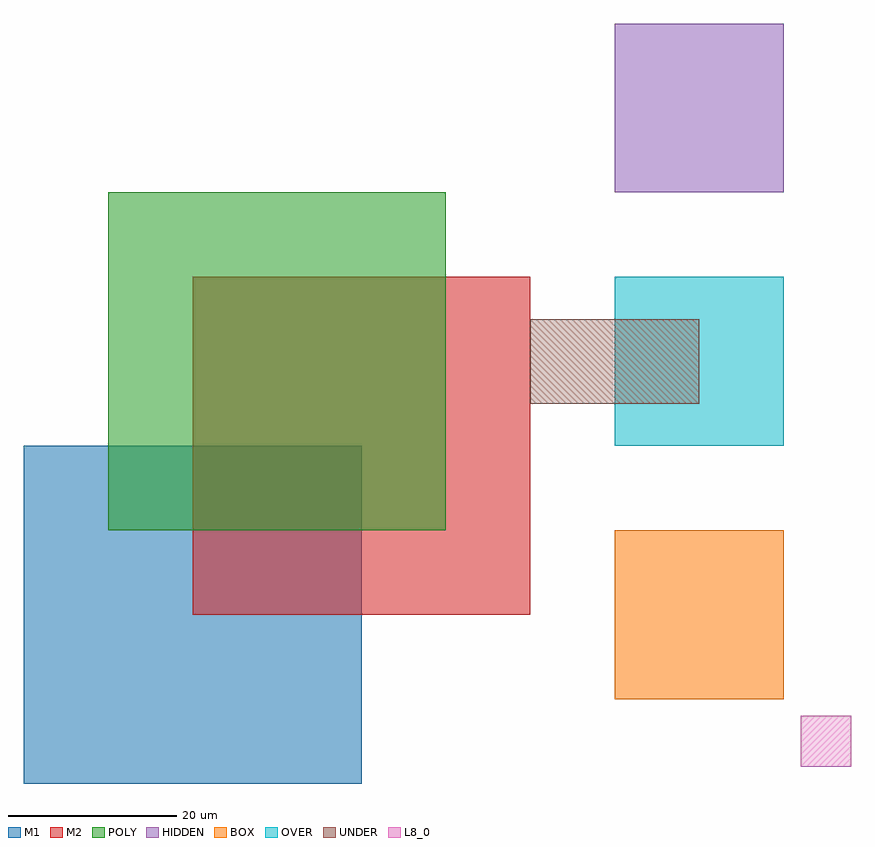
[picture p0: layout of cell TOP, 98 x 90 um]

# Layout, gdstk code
import gdstk
lib = gdstk.Library(unit=1e-6, precision=1e-09)
def R(c, l, rs):  # rectangles x0, y0, x1, y1
    for r in rs: c.add(gdstk.rectangle(r[:2], r[2:], *l))
M1 = (1, 0)
M2 = (2, 0)
POLY = (3, 0)
HIDDEN = (4, 0)
BOX = (5, 0)
OVER = (6, 0)
UNDER = (7, 0)
L8_0 = (8, 0)

top = lib.new_cell('TOP')
R(top, M1, [(0,0,40,40)])
R(top, M2, [(20,20,60,60)])
R(top, POLY, [(10,30,50,70)])
R(top, HIDDEN, [(70,70,90,90)])
R(top, BOX, [(70,10,90,30)])
R(top, OVER, [(70,40,90,60)])
R(top, UNDER, [(60,45,80,55)])
R(top, L8_0, [(92,2,98,8)])

lib.write_gds('TOP.gds')
